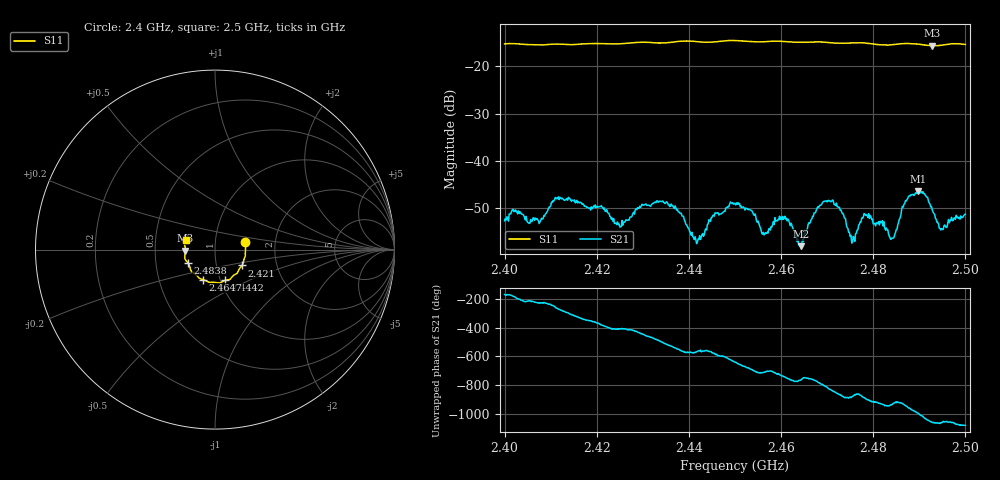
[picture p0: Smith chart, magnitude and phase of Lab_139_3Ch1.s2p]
# Hz S RI R 50
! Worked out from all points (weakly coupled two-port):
!   601 points, 2.4 GHz to 2.5 GHz, reference 50 ohm
!   highest |S21| = -46.41 dB at 2.4897 GHz (marker M1); lowest = -58.0 dB at 2.4643 GHz (marker M2)
!   lowest |S11| = -15.6 dB at 2.4928 GHz (marker M3), VSWR 1.40, Z = 35.8 - j0.371 ohm
!   |S11| at or under -10 dB: start of sweep to end of sweep
!   S12 and S22 are empty: the file has one direction only
!   S11 on the Smith chart (normalised r, x): 2.4 GHz: 1.40, +0.12; 2.421 GHz: 1.33, -0.24; 2.4442 GHz: 1.05, -0.37; 2.4647 GHz: 0.83, -0.29; 2.4838 GHz: 0.73, -0.11; 2.5 GHz: 0.72, +0.08
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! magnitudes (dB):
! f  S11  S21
! 2.4 GHz  -15.2  -52.6
! 2.4167 GHz  -15.3  -48.9
! 2.421 GHz  -15.2  -49.4
! 2.4252 GHz  -15.2  -53.9
! 2.4333 GHz  -15.0  -48.7
! 2.4413 GHz  -14.7  -56.0
! 2.4442 GHz  -14.9  -53.3
! 2.45 GHz  -14.5  -49.0
! 2.4563 GHz  -14.8  -55.6
! 2.4612 GHz  -14.8  -52.1
! 2.4643 GHz  -14.9  -58.0
! 2.4647 GHz  -14.9  -56.6
! 2.4667 GHz  -14.8  -52.3
! 2.4708 GHz  -15.0  -48.6
! 2.4755 GHz  -15.0  -57.2
! 2.4785 GHz  -15.1  -51.4
! 2.4833 GHz  -15.5  -55.5
! 2.4838 GHz  -15.4  -56.6
! 2.4897 GHz  -15.3  -46.4
! 2.4928 GHz  -15.6  -50.4
! 2.4948 GHz  -15.5  -54.3
! 2.5 GHz  -15.3  -51.2
